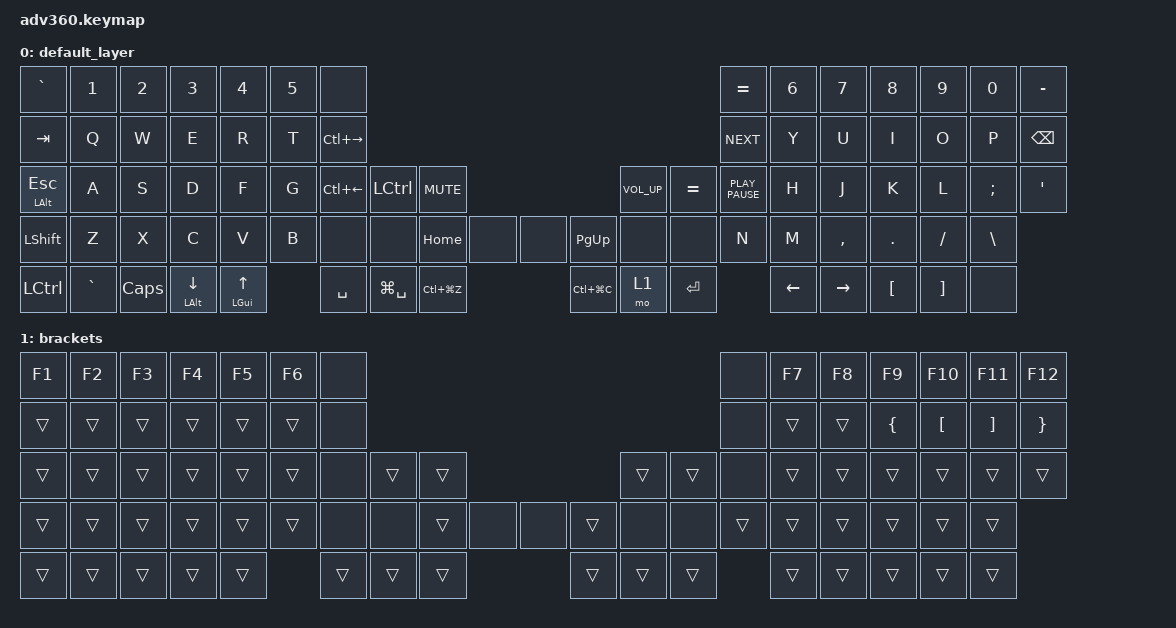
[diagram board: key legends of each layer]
#include <behaviors.dtsi>
#include <dt-bindings/zmk/keys.h>
#include <dt-bindings/zmk/bt.h>
#include <dt-bindings/zmk/rgb.h>
#include <dt-bindings/zmk/backlight.h>

#define DEFAULT 0
#define BRACKETS 1

/ {
    behaviors {
      #include "macros.dtsi"

      hm: homerow_mods {
          compatible = "zmk,behavior-hold-tap";
          label = "HOMEROW_MODS";
          #binding-cells = <2>;
          tapping-term-ms = <200>;
          quick_tap_ms = <175>;
          flavor = "tap-preferred";
          bindings = <&kp>, <&kp>;
      };
    };

  keymap {
    compatible = "zmk,keymap";

    default_layer {
      bindings = <
        &kp GRAVE &kp N1    &kp N2   &kp N3   &kp N4     &kp N5 &none                                                                       &kp EQUAL &kp N6 &kp N7 &kp N8 &kp N9 &kp N0 &kp MINUS
        &kp TAB   &kp Q     &kp W    &kp E    &kp R      &kp T  &kp LC(RIGHT)                                                               &kp K_NEXT &kp Y  &kp U  &kp I  &kp O  &kp P  &kp BKSP
        &mt LALT ESC &kp A &kp S    &kp D    &kp F      &kp G  &kp LC(LEFT)  &kp LCTRL &kp K_MUTE                  &kp K_VOL_UP &kp EQUAL  &kp K_PLAY_PAUSE &kp H  &kp J  &kp K  &kp L  &kp SEMI &kp SQT
        &kp LSHFT &kp Z     &kp X    &kp C    &kp V      &kp B                 &none &none &kp HOME     &none &none  &kp PG_UP &none &none           &kp N  &kp M  &kp COMMA &kp DOT  &kp FSLH &kp BSLH
        &kp LCTRL &kp GRAVE &kp CAPS &mt LALT DOWN &mt LGUI UP                 &kp SPACE  &kp LG(SPACE) &kp LC(LG(Z)) &kp LC(LG(C)) &mo 1 &kp ENTER         &kp LEFT &kp RIGHT &kp LBKT &kp RBKT &none
        >;
    };
    brackets {
      bindings = <
        &kp F1  &kp F2 &kp F3 &kp F4 &kp F5 &kp F6  &none                                                          &none &kp F7  &kp F8 &kp F9 &kp F10 &kp F11 &kp F12
        &trans  &trans &trans &trans &trans &trans  &none                                                          &none &trans  &trans &kp LBRC &kp LBKT &kp RBKT &kp RBRC
        &trans  &trans &trans &trans &trans &trans  &none        &trans &trans             &trans &trans           &none &trans  &trans &trans &trans  &trans  &trans
        &trans  &trans &trans &trans &trans &trans        &none  &none  &trans &none &none &trans &none  &none            &trans &trans &trans &trans  &trans  &trans
        &trans  &trans &trans &trans &trans               &trans &trans &trans             &trans &trans &trans                  &trans &trans &trans  &trans  &trans
      >;
    };
    
  };
};
